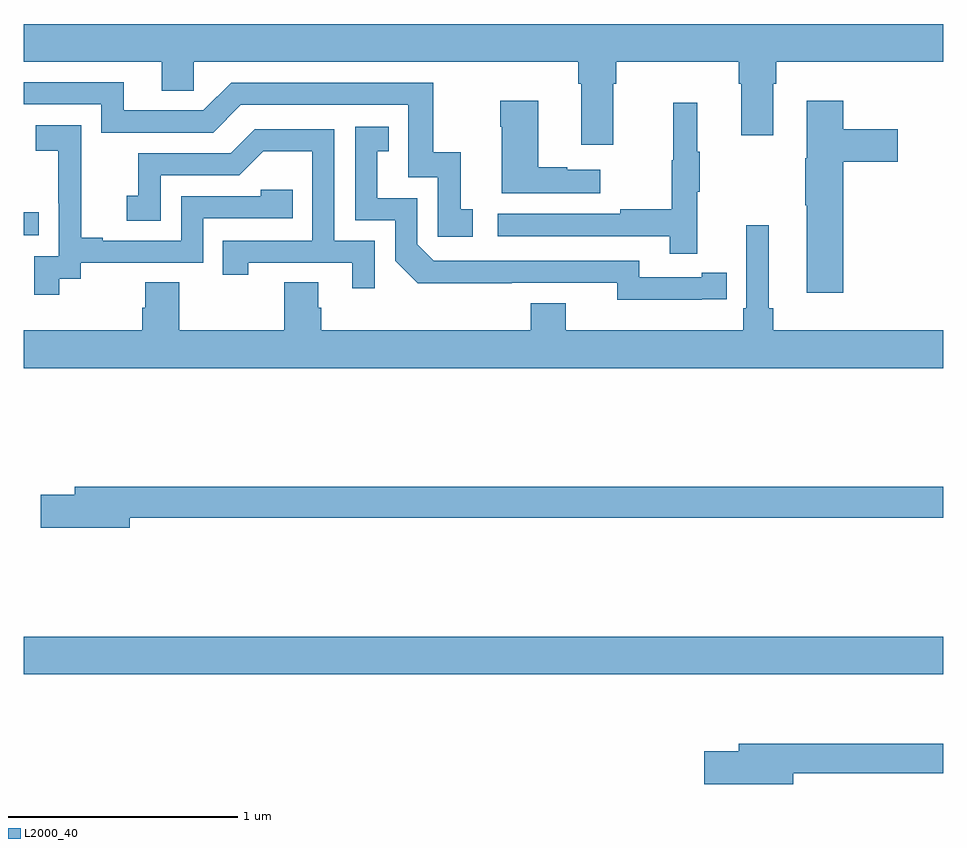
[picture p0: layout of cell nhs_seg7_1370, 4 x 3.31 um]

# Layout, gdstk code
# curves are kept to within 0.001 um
import gdstk
lib = gdstk.Library(unit=1e-6, precision=1e-09)
def R(c, l, rs):  # rectangles x0, y0, x1, y1
    for r in rs: c.add(gdstk.rectangle(r[:2], r[2:], *l))
def P(c, l, *ps):  # polygons
    for p in ps: c.add(gdstk.Polygon(p, *l))
L2000_40 = (2000, 40)

nhs_seg7_1370 = lib.new_cell('nhs_seg7_1370')
R(nhs_seg7_1370, L2000_40, [(205,1040.576,209,1040.74), (205,1042.485,205.067,1042.586)])
P(nhs_seg7_1370, L2000_40, [(207.565,1043.144),(207.578,1043.144),(207.578,1043.24),(208.109,1043.24),(208.109,1043.144),(208.121,1043.144),(208.121,1042.92),(208.261,1042.92),(208.261,1043.144),(208.274,1043.144),(208.274,1043.24),(209,1043.24),(209,1043.404),(205,1043.404),(205,1043.24),(205.601,1043.24),(205.601,1043.113),(205.74,1043.113),(205.74,1043.24),(207.413,1043.24),(207.413,1043.144),(207.425,1043.144),(207.425,1042.878),(207.565,1042.878)],
  [(206.953,1042.599),(206.9,1042.599),(206.9,1042.846),(206.782,1042.846),(206.782,1043.148),(205.902,1043.148),(205.782,1043.028),(205.435,1043.028),(205.435,1043.151),(205,1043.151),(205,1043.055),(205.338,1043.055),(205.338,1042.932),(205.824,1042.932),(205.944,1043.052),(206.673,1043.052),(206.673,1042.737),(206.802,1042.737),(206.802,1042.478),(206.953,1042.478)],
  [(208.565,1042.805),(208.801,1042.805),(208.801,1042.947),(208.565,1042.947),(208.565,1043.071),(208.406,1043.071),(208.406,1042.821),(208.399,1042.821),(208.399,1042.615),(208.406,1042.615),(208.406,1042.236),(208.565,1042.236)],
  [(207.508,1042.771),(207.365,1042.771),(207.365,1042.781),(207.238,1042.781),(207.238,1043.071),(207.073,1043.071),(207.073,1042.958),(207.08,1042.958),(207.08,1042.667),(207.508,1042.667)],
  [(207.929,1042.675),(207.94,1042.675),(207.94,1042.849),(207.929,1042.849),(207.929,1043.062),(207.826,1043.062),(207.826,1042.812),(207.819,1042.812),(207.819,1042.598),(207.595,1042.598),(207.595,1042.578),(207.063,1042.578),(207.063,1042.482),(207.811,1042.482),(207.811,1042.404),(207.929,1042.404)],
  [(205.156,1042.297),(205.248,1042.297),(205.248,1042.365),(205.782,1042.365),(205.782,1042.56),(206.171,1042.56),(206.171,1042.683),(206.031,1042.683),(206.031,1042.656),(205.686,1042.656),(205.686,1042.461),(205.345,1042.461),(205.345,1042.474),(205.25,1042.474),(205.25,1042.757),(205.251,1042.757),(205.251,1042.963),(205.053,1042.963),(205.053,1042.853),(205.151,1042.853),(205.151,1042.625),(205.152,1042.625),(205.152,1042.395),(205.047,1042.395),(205.047,1042.227),(205.156,1042.227)],
  [(207.95,1042.206),(208.058,1042.206),(208.058,1042.322),(207.95,1042.322),(207.95,1042.302),(207.678,1042.302),(207.678,1042.374),(206.784,1042.374),(206.712,1042.446),(206.712,1042.647),(206.539,1042.647),(206.539,1042.851),(206.588,1042.851),(206.588,1042.957),(206.442,1042.957),(206.442,1042.551),(206.616,1042.551),(206.616,1042.374),(206.714,1042.277),(207.582,1042.278),(207.582,1042.205)],
  [(206.526,1042.461),(206.352,1042.461),(206.352,1042.947),(206.006,1042.947),(205.901,1042.842),(205.498,1042.842),(205.498,1042.657),(205.449,1042.657),(205.449,1042.548),(205.596,1042.548),(205.596,1042.746),(205.938,1042.746),(206.042,1042.85),(206.256,1042.85),(206.256,1042.461),(205.867,1042.461),(205.867,1042.314),(205.978,1042.314),(205.978,1042.365),(206.429,1042.365),(206.429,1042.254),(206.526,1042.254)],
  [(209,1042.072),(208.259,1042.072),(208.259,1042.168),(208.24,1042.168),(208.24,1042.528),(208.143,1042.528),(208.143,1042.168),(208.13,1042.168),(208.13,1042.072),(207.358,1042.072),(207.358,1042.189),(207.206,1042.189),(207.206,1042.072),(206.294,1042.072),(206.294,1042.17),(206.281,1042.17),(206.281,1042.28),(206.134,1042.28),(206.134,1042.072),(205.677,1042.072),(205.677,1042.28),(205.529,1042.28),(205.529,1042.17),(205.517,1042.17),(205.517,1042.072),(205,1042.072),(205,1041.908),(209,1041.908)],
  [(205.462,1041.256),(209,1041.256),(209,1041.392),(205.223,1041.392),(205.223,1041.356),(205.074,1041.356),(205.074,1041.214),(205.462,1041.214)],
  [(208.348,1040.146),(209,1040.146),(209,1040.275),(208.109,1040.275),(208.109,1040.241),(207.96,1040.241),(207.96,1040.099),(208.348,1040.099)])

lib.write_gds('nhs_seg7_1370.gds')
